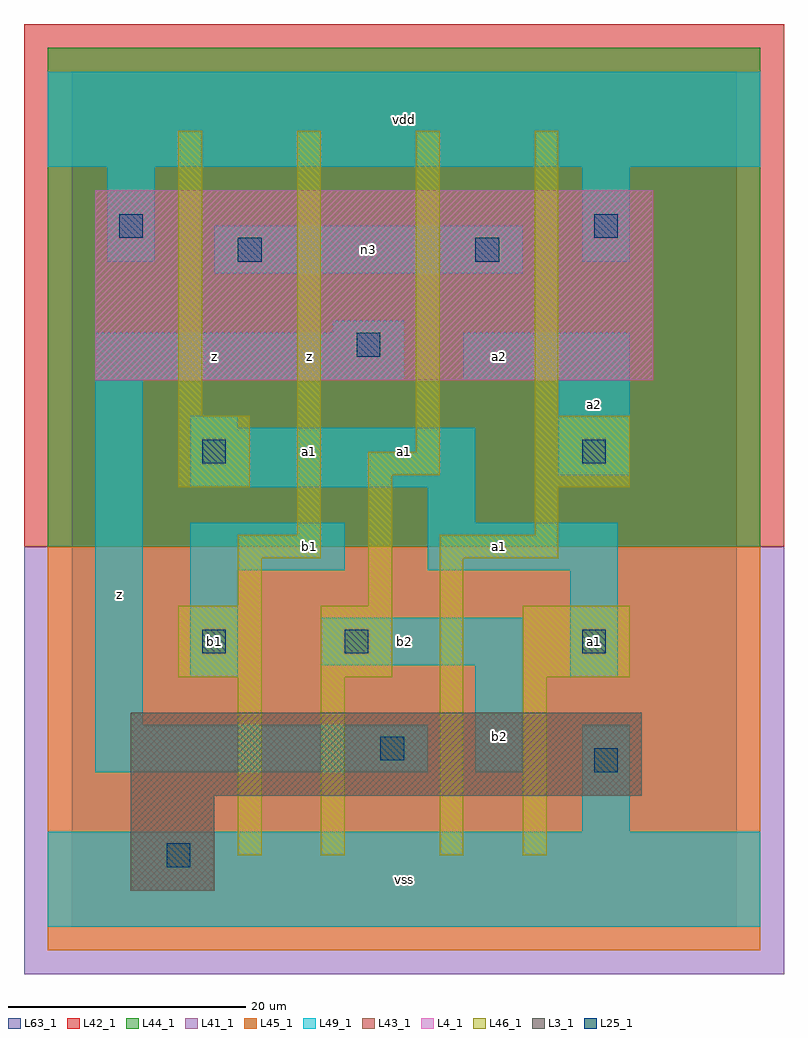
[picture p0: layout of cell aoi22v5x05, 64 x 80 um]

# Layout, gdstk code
import gdstk
lib = gdstk.Library(unit=1e-6, precision=1e-09)
def R(c, l, rs):  # rectangles x0, y0, x1, y1
    for r in rs: c.add(gdstk.rectangle(r[:2], r[2:], *l))
L3_1 = (3, 1)
L4_1 = (4, 1)
L25_1 = (25, 1)
L41_1 = (41, 1)
L42_1 = (42, 1)
L43_1 = (43, 1)
L44_1 = (44, 1)
L45_1 = (45, 1)
L46_1 = (46, 1)
L49_1 = (49, 1)
L63_1 = (63, 1)

aoi22v5x05 = lib.new_cell('aoi22v5x05')
R(aoi22v5x05, L3_1, [(5,3,12,11), (5,11,48,18)])
R(aoi22v5x05, L4_1, [(2,46,49,62)])
R(aoi22v5x05, L25_1, [(8,5,10,7), (44,13,46,15), (26,14,28,16), (11,23,13,25), (23,23,25,25), (43,23,45,25), (11,39,13,41), (43,39,45,41), (24,48,26,50), (14,56,16,58), (34,56,36,58), (4,58,6,60), (44,58,46,60)])
R(aoi22v5x05, L41_1, [(-4,-4,60,32)])
R(aoi22v5x05, L42_1, [(-4,32,60,76)])
R(aoi22v5x05, L43_1, [(5,3,12,11), (5,11,48,18), (2,46,49,62)])
R(aoi22v5x05, L44_1, [(-2,32,58,74)])
R(aoi22v5x05, L45_1, [(-2,-2,58,32)])
R(aoi22v5x05, L46_1, [(14,6,16,21), (21,6,23,21), (31,6,33,31), (38,6,40,21), (9,21,16,27), (21,21,27,27), (38,21,47,27), (14,27,16,31), (25,27,27,38), (14,31,21,33), (31,31,41,33), (19,33,21,67), (39,33,41,37), (9,37,15,43), (39,37,47,43), (25,38,31,40), (29,40,31,67), (9,43,11,67), (39,43,41,67)])
R(aoi22v5x05, L49_1, [(-2,0,58,8), (43,8,47,17), (2,13,30,17), (34,13,38,22), (2,17,6,46), (10,21,14,30), (42,21,46,30), (21,22,38,26), (10,30,23,34), (30,30,46,34), (30,34,34,37), (10,37,34,42), (41,38,47,46), (10,42,14,43), (2,46,28,50), (33,46,47,50), (22,50,28,51), (12,55,38,59), (3,56,7,64), (43,56,47,64), (-2,64,58,72)])
R(aoi22v5x05, L63_1, [(0,0,56,72)])
aoi22v5x05.add(gdstk.Label('z', (4,28), layer=49, texttype=1))
aoi22v5x05.add(gdstk.Label('b1', (12,24), layer=49, texttype=1))
aoi22v5x05.add(gdstk.Label('b1', (20,32), layer=49, texttype=1))
aoi22v5x05.add(gdstk.Label('a1', (20,40), layer=49, texttype=1))
aoi22v5x05.add(gdstk.Label('z', (12,48), layer=49, texttype=1))
aoi22v5x05.add(gdstk.Label('z', (20,48), layer=49, texttype=1))
aoi22v5x05.add(gdstk.Label('vss', (28,4), layer=49, texttype=1))
aoi22v5x05.add(gdstk.Label('b2', (36,16), layer=49, texttype=1))
aoi22v5x05.add(gdstk.Label('b2', (28,24), layer=49, texttype=1))
aoi22v5x05.add(gdstk.Label('a1', (36,32), layer=49, texttype=1))
aoi22v5x05.add(gdstk.Label('a1', (28,40), layer=49, texttype=1))
aoi22v5x05.add(gdstk.Label('a2', (36,48), layer=49, texttype=1))
aoi22v5x05.add(gdstk.Label('n3', (25,57), layer=49, texttype=1))
aoi22v5x05.add(gdstk.Label('vdd', (28,68), layer=49, texttype=1))
aoi22v5x05.add(gdstk.Label('a1', (44,24), layer=49, texttype=1))
aoi22v5x05.add(gdstk.Label('a2', (44,44), layer=49, texttype=1))

lib.write_gds('aoi22v5x05.gds')
